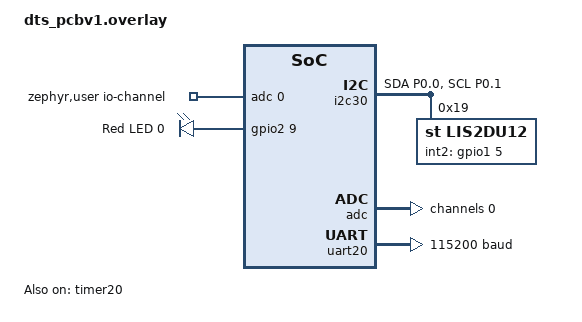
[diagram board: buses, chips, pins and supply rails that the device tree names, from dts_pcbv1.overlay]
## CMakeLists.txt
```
# SPDX-License-Identifier: Apache-2.0

cmake_minimum_required(VERSION 3.20.0)

# set(EXTRA_DTC_OVERLAY_FILE "dts.overlay")
set(EXTRA_DTC_OVERLAY_FILE "dts_pcbv1.overlay")
find_package(Zephyr REQUIRED HINTS $ENV{ZEPHYR_BASE})
project(nrf54l15_breakout_test)

target_sources(app PRIVATE 
        src/main.cpp
        src/led.cpp
        submodules/esp_generic_lib/src/lib_linked_list.cpp
)

# add_subdirectory(submodules/nrf_zb_cpp)
# target_include_directories(app PRIVATE submodules/nrf_zb_cpp/include)

target_include_directories(app PRIVATE include)
target_include_directories(app PRIVATE submodules/esp_generic_lib/include)

zephyr_include_directories(submodules/nrf_zb_cpp/include)
zephyr_include_directories(submodules/nrf_general/include)

# target_link_libraries(app PRIVATE NrfZbCpp)
if (${ZEPHYR_TOOLCHAIN_VARIANT} STREQUAL  "llvm")
        target_compile_options(app PRIVATE -fmacro-backtrace-limit=0)
        target_compile_options(app PUBLIC -D__cpp_concepts=202002L -Wno-builtin-macro-redefined -Wno-invalid-offsetof)
endif()
```

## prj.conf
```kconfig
CONFIG_HEAP_MEM_POOL_SIZE=2048
CONFIG_SYSTEM_WORKQUEUE_STACK_SIZE=2048
CONFIG_MAIN_THREAD_PRIORITY=7

CONFIG_GPIO=y
CONFIG_ADC=y

CONFIG_REBOOT=y
CONFIG_RAM_POWER_DOWN_LIBRARY=y
CONFIG_SETTINGS=y
CONFIG_SETTINGS_NVS=y
CONFIG_NVS=y

CONFIG_FLASH=y
CONFIG_FLASH_MAP=y
CONFIG_MPU_ALLOW_FLASH_WRITE=y
# CONFIG_REGULATOR=y

CONFIG_SENSOR=y
CONFIG_LIS2DU12_TRIGGER_OWN_THREAD=y
```

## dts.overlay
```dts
/ {
	chosen {
		ncs,zigbee-timer = &timer20;
		zephyr,console = &uart30;
	};
};

// restore full RRAM and SRAM space - by default some parts are dedicated to FLRP
//&cpuapp_rram {
//	reg = <0x0 DT_SIZE_K(1524)>;
//};
//
//&cpuapp_sram {
//	reg = <0x20000000 DT_SIZE_K(256)>;
//	ranges = <0x0 0x20000000  0x40000>;
//};

&pinctrl {
   i2c0_default_alt: i2c0_default_alt {
      group1 {
         psels = <NRF_PSEL(TWIM_SDA, 0, 0)>,
                 <NRF_PSEL(TWIM_SCL, 0, 1)>;
      };
   };
   i2c0_sleep_alt: i2c0_sleep_alt {
      group1 {
         psels = <NRF_PSEL(TWIM_SDA, 0, 0)>,
                 <NRF_PSEL(TWIM_SCL, 0, 1)>;
         low-power-enable;
      };
   };
    /omit-if-no-ref/ uart30_default: uart30_default {
	    group1 {
		    psels = <NRF_PSEL(UART_TX, 1, 7)>;
	    };
    };

    /omit-if-no-ref/ uart30_sleep: uart30_sleep {
	    group1 {
		    psels = <NRF_PSEL(UART_TX, 1, 7)>;
		    low-power-enable;
	    };
    };
};


&i2c30 {
    status = "okay";
    pinctrl-0 = <&i2c0_default_alt>;
    pinctrl-1 = <&i2c0_sleep_alt>;
    pinctrl-names = "default", "sleep";

    accel: lis2du12@19{
        compatible="st,lis2du12";
        reg = <0x19>;
        label = "LIS2DU12";
        /* mode 3 = 16G */
        /* mode 2 = 8G */
        /* mode 1 = 4G */
        /* mode 0 = 2G */
        accel-range = < 2 >;
        /* odr=3 6Hz Ultra-Low-Power */
        accel-odr = < 3 >;
        drdy-pin = < 2 >;
        int2-gpios = <&gpio1 12 GPIO_ACTIVE_HIGH>;
        status = "okay";
    };
};

&timer20 {
	status = "okay";
};

&uart20 {
	status = "okay";
	current-speed = <115200>;
};
```

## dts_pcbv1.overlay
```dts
/ {
	chosen {
		ncs,zigbee-timer = &timer20;
		zephyr,console = &uart20;
	};

	zephyr,user {
		io-channels = <&adc 0>;
	};

	leds {
		compatible = "gpio-leds";
		led0: led_0 {
			gpios = <&gpio2 9 GPIO_ACTIVE_HIGH>;
			label = "Red LED 0";
		};
	};

	aliases {
		led0 = &led0;
	};
};

// restore full RRAM and SRAM space - by default some parts are dedicated to FLRP
//&cpuapp_rram {
//	reg = <0x0 DT_SIZE_K(1524)>;
//};
//
//&cpuapp_sram {
//	reg = <0x20000000 DT_SIZE_K(256)>;
//	ranges = <0x0 0x20000000  0x40000>;
//};

&pinctrl {
   i2c0_default_alt: i2c0_default_alt {
      group1 {
         psels = <NRF_PSEL(TWIM_SDA, 0, 0)>,
                 <NRF_PSEL(TWIM_SCL, 0, 1)>;
      };
   };
   i2c0_sleep_alt: i2c0_sleep_alt {
      group1 {
         psels = <NRF_PSEL(TWIM_SDA, 0, 0)>,
                 <NRF_PSEL(TWIM_SCL, 0, 1)>;
         low-power-enable;
      };
   };
    /omit-if-no-ref/ uart20_default: uart20_default {
     group1 {
      psels = <NRF_PSEL(UART_TX, 1, 7)>;
     };
    };

    /omit-if-no-ref/ uart20_sleep: uart20_sleep {
     group1 {
      psels = <NRF_PSEL(UART_TX, 1, 7)>;
      low-power-enable;
     };
    };
};


&i2c30 {
    status = "okay";
    pinctrl-0 = <&i2c0_default_alt>;
    pinctrl-1 = <&i2c0_sleep_alt>;
    pinctrl-names = "default", "sleep";

    accel: lis2du12@19{
        compatible="st,lis2du12";
        reg = <0x19>;
        label = "LIS2DU12";
        /* mode 3 = 16G */
        /* mode 2 = 8G */
        /* mode 1 = 4G */
        /* mode 0 = 2G */
        accel-range = < 2 >;
        /* odr=3 6Hz Ultra-Low-Power */
        accel-odr = < 3 >;
        drdy-pin = < 2 >;
        int2-gpios = <&gpio1 5 GPIO_ACTIVE_HIGH>;
        status = "okay";
    };
};

&adc {
    status = "okay";
	#address-cells = <1>;
	#size-cells = <0>;

	channel@0 {
		reg = <0>;
		zephyr,gain = "ADC_GAIN_1_2";
		zephyr,reference = "ADC_REF_INTERNAL";
		zephyr,acquisition-time = <ADC_ACQ_TIME_DEFAULT>;
		zephyr,input-positive = <NRF_SAADC_AIN7>; /* P1.14 */
		zephyr,resolution = <12>;
	};
};

&timer20 {
	status = "okay";
};

&uart20 {
	status = "okay";
	current-speed = <115200>;
};
&gpio2 {
	status = "okay";
};
```

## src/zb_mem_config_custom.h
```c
/*
 * Copyright (c) 2024 Nordic Semiconductor ASA
 *
 * SPDX-License-Identifier: LicenseRef-Nordic-5-Clause
 */

#ifndef ZB_MEM_CONFIG_CUSTOM_H
#define ZB_MEM_CONFIG_CUSTOM_H 1


#define ZB_CONFIG_ROLE_ZED
#ifdef ZB_CONFIG_OVERALL_NETWORK_SIZE
#undef ZB_CONFIG_OVERALL_NETWORK_SIZE
#endif
#define ZB_CONFIG_OVERALL_NETWORK_SIZE 16

/**
 * Light routing and application traffic from/to that device.
 */
#define ZB_CONFIG_LIGHT_TRAFFIC

/**
 * Simple user's application at that device: not too many relations
 * to other devices.
 */
#define ZB_CONFIG_APPLICATION_SIMPLE

/**
 * The below section is for advanced users.
 * Before modifying any values, please make sure you fully understand the
 * impact, for example by reading zb_mem_config_common.h
 */
#include "zb_mem_config_common.h"

/**
 * Now if you REALLY know what you do, you can study zb_mem_config_common.h
 * and redefine some configuration parameters, like:
 */
//#if defined(CONFIG_LIGHT_SWITCH_CONFIGURE_TX_POWER) && \
//	defined(CONFIG_ZIGBEE_CHANNEL_SELECTION_MODE_MULTI)
//#undef ZB_CONFIG_SCHEDULER_Q_SIZE
//#define ZB_CONFIG_SCHEDULER_Q_SIZE 28
//#undef ZB_CONFIG_IOBUF_POOL_SIZE
//#define ZB_CONFIG_IOBUF_POOL_SIZE 42
//#else
//#undef ZB_CONFIG_SCHEDULER_Q_SIZE
//#define ZB_CONFIG_SCHEDULER_Q_SIZE 24
//#endif /* CONFIG_LIGHT_SWITCH_CONFIGURE_TX_POWER && CONFIG_ZIGBEE_CHANNEL_SELECTION_MODE_MULTI */

#undef ZB_CONFIG_SCHEDULER_Q_SIZE
#define ZB_CONFIG_SCHEDULER_Q_SIZE 28
#undef ZB_CONFIG_IOBUF_POOL_SIZE
#define ZB_CONFIG_IOBUF_POOL_SIZE 42

/**
 * Increase OTA transfer time by extending the APS duplicate rejection table.
 * This value must be less than the amount of possible APS counter values (256).
 */
#undef ZB_CONFIG_APS_DUPS_TABLE_SIZE
#define ZB_CONFIG_APS_DUPS_TABLE_SIZE 64

/* Memory context definitions. */
#include "zb_mem_config_context.h"

#endif /* ZB_MEM_CONFIG_CUSTOM_H */
```
